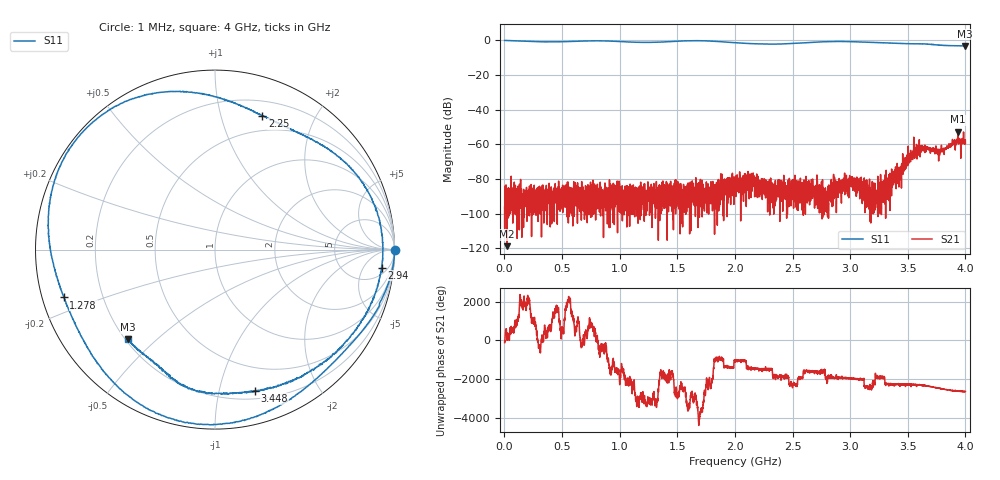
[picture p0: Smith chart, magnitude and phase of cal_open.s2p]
!Created with skrf (http://scikit-rf.org).
# GHz S RI R 50.0
!freq ReS11 ImS11 ReS21 ImS21 ReS12 ImS12 ReS22 ImS22
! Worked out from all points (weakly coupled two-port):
!   4000 points, 1 MHz to 4 GHz, reference 50 ohm
!   highest |S21| = -52.71 dB at 3.936 GHz (marker M1); lowest = -118.8 dB at 23 MHz (marker M2)
!   lowest |S11| = -3.2 dB at 3.993 GHz (marker M3), VSWR 5.57, Z = 10.5 - j20.4 ohm
!   |S11| at or under -10 dB: nowhere
!   S12 and S22 are empty: the file has one direction only
!   S11 on the Smith chart (normalised r, x): 1 MHz: open; 1.278 GHz: 0.06, -0.15; 2.25 GHz: 0.34, +1.36; 2.94 GHz: 8, -13; 3.448 GHz: 0.27, -1.29; 4 GHz: 0.21, -0.42
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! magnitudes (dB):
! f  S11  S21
! 1 MHz  0.0  -96.2
! 23 MHz  0.0  -118.8
! 362 MHz  -0.8  -91.6
! 668 MHz  -0.4  -86.6
! 1.278 GHz  -1.1  -88.0
! 1.334 GHz  -1.0  -92.5
! 1.673 GHz  -0.1  -85.6
! 2.001 GHz  -1.3  -88.3
! 2.25 GHz  -2.0  -83.1
! 2.667 GHz  -1.1  -88.0
! 2.94 GHz  -0.6  -84.2
! 3.334 GHz  -1.5  -82.2
! 3.429 GHz  -1.7  -76.7
! 3.448 GHz  -1.7  -73.6
! 3.487 GHz  -1.8  -71.8
! 3.534 GHz  -1.9  -65.9
! 3.606 GHz  -2.0  -62.3
! 3.669 GHz  -2.1  -62.3
! 3.785 GHz  -2.7  -64.1
! 3.936 GHz  -3.0  -52.7
! 3.993 GHz  -3.2  -57.9
! 4 GHz  -3.1  -59.3
